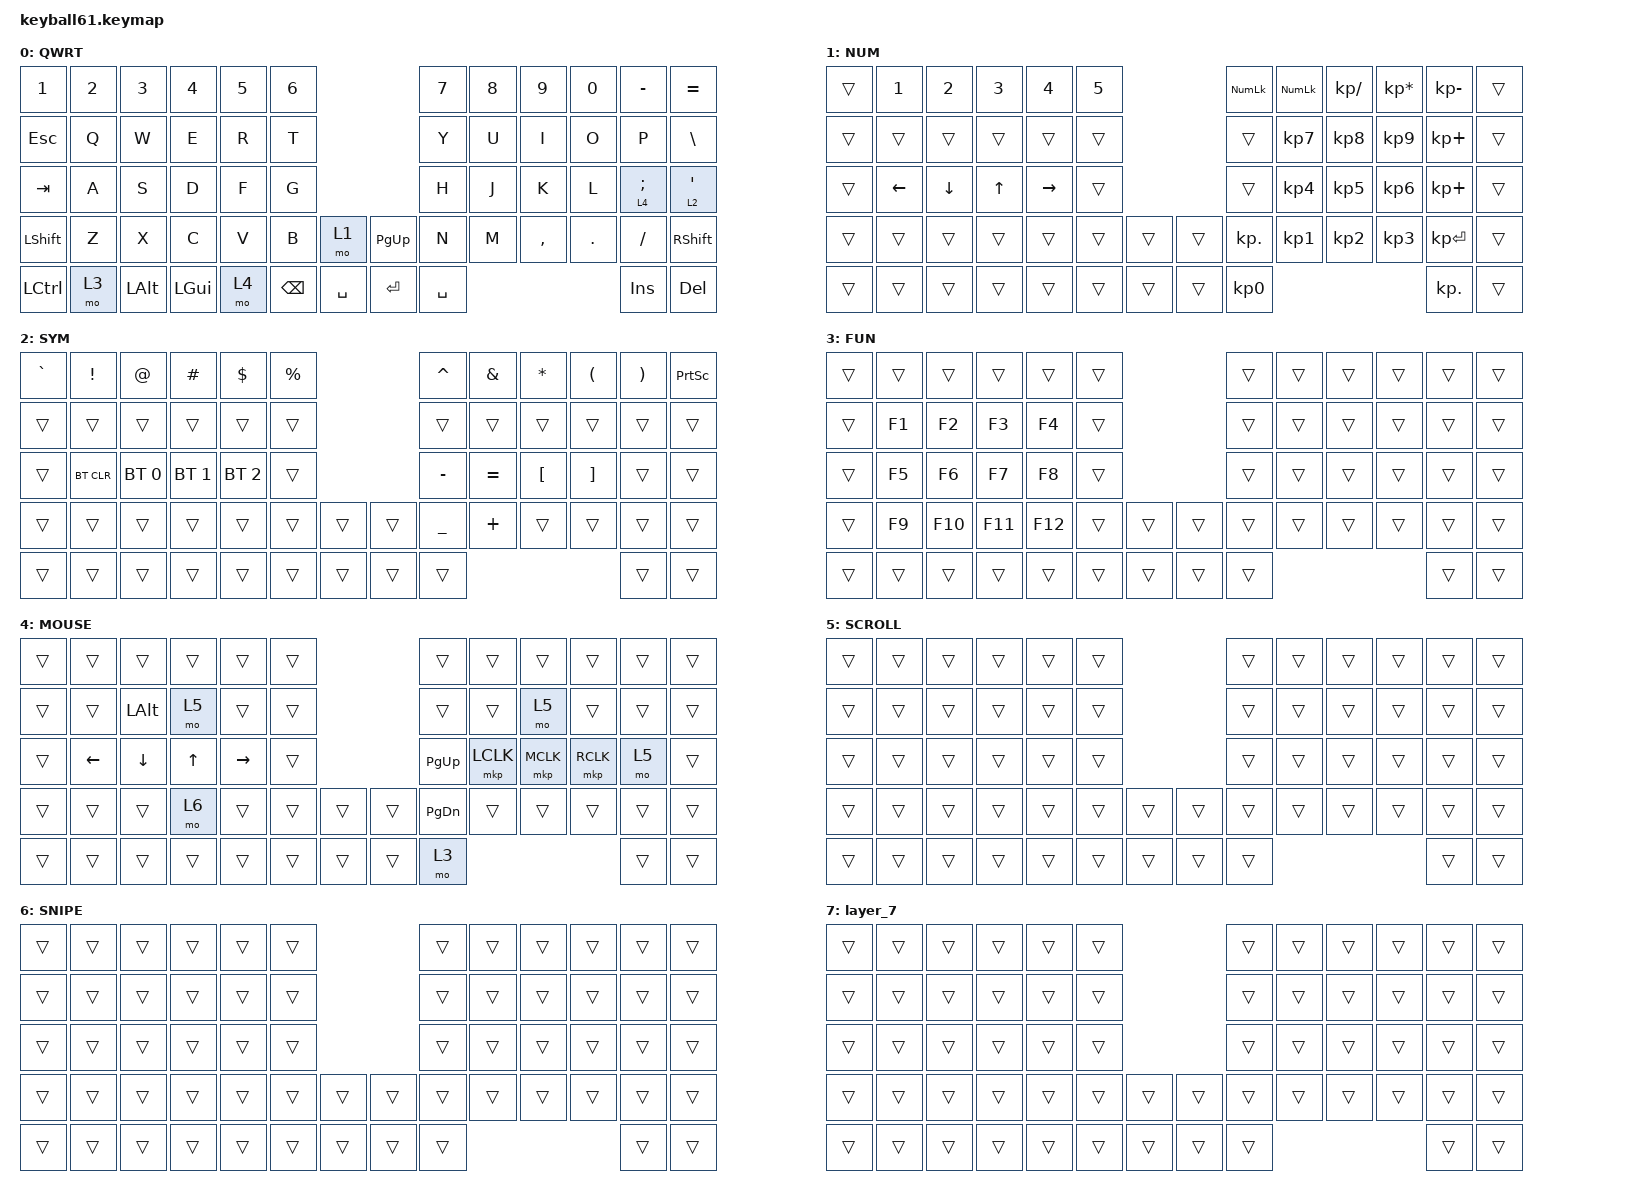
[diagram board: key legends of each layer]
#define DEFAULT 0
#define SYM     1
#define FUN     2
#define MOUSE   3
#define SCROLL  4
#define SNIPE   5

#include <behaviors/mouse_keys.dtsi>
#include <dt-bindings/zmk/mouse.h>
#include <behaviors.dtsi>
#include <dt-bindings/zmk/bt.h>
#include <dt-bindings/zmk/keys.h>
#include <dt-bindings/zmk/pointing.h>

&lt {
    tapping-term-ms = <240>;
    flavor = "balanced";
    quick-tap-ms = <150>;
};

&mt {
    tapping-term-ms = <200>;
    flavor = "tap-preferred";
    quick-tap-ms = <150>;
};

/ {
    keymap {
        compatible = "zmk,keymap";

        default_layer {
            label = "QWRT";
            bindings = <
&kp NUMBER_1    &kp NUMBER_2  &kp NUMBER_3  &kp NUMBER_4  &kp N5  &kp NUMBER_6                           &kp N7     &kp N8  &kp N9     &kp N0   &kp MINUS        &kp EQUAL
&kp ESCAPE      &kp Q         &kp W         &kp E         &kp R   &kp T                                  &kp Y      &kp U   &kp I      &kp O    &kp P            &kp BACKSLASH
&kp TAB         &kp A         &kp S         &kp D         &kp F   &kp G                                  &kp H      &kp J   &kp K      &kp L    &lt 4 SEMICOLON  &lt 2 SQT
&kp LEFT_SHIFT  &kp Z         &kp X         &kp C         &kp V   &kp B          &mo 1      &kp PAGE_UP  &kp N      &kp M   &kp COMMA  &kp DOT  &kp FSLH         &kp RIGHT_SHIFT
&kp LCTRL       &mo 3         &kp LEFT_ALT  &kp LEFT_GUI  &mo 4   &kp BACKSPACE  &kp SPACE  &kp ENTER    &kp SPACE                              &kp INS          &kp DELETE
            >;
        };

        number_layer {
            bindings = <
&trans  &kp N1    &kp N2    &kp N3  &kp N4     &kp N5                  &kp KP_NUMLOCK  &kp KP_NUM       &kp KP_SLASH  &kp KP_MULTIPLY  &kp KP_MINUS  &trans
&trans  &trans    &trans    &trans  &trans     &trans                  &trans          &kp KP_N7        &kp KP_N8     &kp KP_N9        &kp KP_PLUS   &trans
&trans  &kp LEFT  &kp DOWN  &kp UP  &kp RIGHT  &trans                  &trans          &kp KP_N4        &kp KP_N5     &kp KP_N6        &kp KP_PLUS   &trans
&trans  &trans    &trans    &trans  &trans     &trans  &trans  &trans  &kp KP_DOT      &kp KP_NUMBER_1  &kp KP_N2     &kp KP_N3        &kp KP_ENTER  &trans
&trans  &trans    &trans    &trans  &trans     &trans  &trans  &trans  &kp KP_N0                                                       &kp KP_DOT    &trans
            >;

            label = "NUM";
        };

        symbol_layer {
            label = "SYM";
            bindings = <
&kp GRAVE  &kp EXCLAMATION  &kp AT_SIGN   &kp HASH      &kp DOLLAR    &kp PERCENT                  &kp CARET       &kp AMPERSAND  &kp ASTERISK      &kp LEFT_PARENTHESIS  &kp RIGHT_PARENTHESIS  &kp PRINTSCREEN
&trans     &trans           &trans        &trans        &trans        &trans                       &trans          &trans         &trans            &trans                &trans                 &trans
&trans     &bt BT_CLR       &bt BT_SEL 0  &bt BT_SEL 1  &bt BT_SEL 2  &trans                       &kp MINUS       &kp EQUAL      &kp LEFT_BRACKET  &kp RIGHT_BRACKET     &trans                 &trans
&trans     &trans           &trans        &trans        &trans        &trans       &trans  &trans  &kp UNDERSCORE  &kp PLUS       &trans            &trans                &trans                 &trans
&trans     &trans           &trans        &trans        &trans        &trans       &trans  &trans  &trans                                                                 &trans                 &trans
            >;
        };

        function_layer {
            label = "FUN";
            bindings = <
&trans  &trans  &trans   &trans   &trans   &trans                  &trans  &trans  &trans  &trans  &trans  &trans
&trans  &kp F1  &kp F2   &kp F3   &kp F4   &trans                  &trans  &trans  &trans  &trans  &trans  &trans
&trans  &kp F5  &kp F6   &kp F7   &kp F8   &trans                  &trans  &trans  &trans  &trans  &trans  &trans
&trans  &kp F9  &kp F10  &kp F11  &kp F12  &trans  &trans  &trans  &trans  &trans  &trans  &trans  &trans  &trans
&trans  &trans  &trans   &trans   &trans   &trans  &trans  &trans  &trans                          &trans  &trans
            >;
        };

        mouse_layer {
            label = "MOUSE";
            bindings = <
&trans  &trans    &trans        &trans  &trans     &trans                  &trans         &trans     &trans     &trans     &trans  &trans
&trans  &trans    &kp LEFT_ALT  &mo 5   &trans     &trans                  &trans         &trans     &mo 5      &trans     &trans  &trans
&trans  &kp LEFT  &kp DOWN      &kp UP  &kp RIGHT  &trans                  &kp PAGE_UP    &mkp LCLK  &mkp MCLK  &mkp RCLK  &mo 5   &trans
&trans  &trans    &trans        &mo 6   &trans     &trans  &trans  &trans  &kp PAGE_DOWN  &trans     &trans     &trans     &trans  &trans
&trans  &trans    &trans        &trans  &trans     &trans  &trans  &trans  &mo 3                                           &trans  &trans
            >;
        };

        scroll_layer {
            label = "SCROLL";
            bindings = <
&trans  &trans  &trans  &trans  &trans  &trans                  &trans  &trans  &trans  &trans  &trans  &trans
&trans  &trans  &trans  &trans  &trans  &trans                  &trans  &trans  &trans  &trans  &trans  &trans
&trans  &trans  &trans  &trans  &trans  &trans                  &trans  &trans  &trans  &trans  &trans  &trans
&trans  &trans  &trans  &trans  &trans  &trans  &trans  &trans  &trans  &trans  &trans  &trans  &trans  &trans
&trans  &trans  &trans  &trans  &trans  &trans  &trans  &trans  &trans                          &trans  &trans
            >;
        };

        snipe_layer {
            label = "SNIPE";
            bindings = <
&trans  &trans  &trans  &trans  &trans  &trans                  &trans  &trans  &trans  &trans  &trans  &trans
&trans  &trans  &trans  &trans  &trans  &trans                  &trans  &trans  &trans  &trans  &trans  &trans
&trans  &trans  &trans  &trans  &trans  &trans                  &trans  &trans  &trans  &trans  &trans  &trans
&trans  &trans  &trans  &trans  &trans  &trans  &trans  &trans  &trans  &trans  &trans  &trans  &trans  &trans
&trans  &trans  &trans  &trans  &trans  &trans  &trans  &trans  &trans                          &trans  &trans
            >;
        };

        layer_7 {
            bindings = <
&trans  &trans  &trans  &trans  &trans  &trans                  &trans  &trans  &trans  &trans  &trans  &trans
&trans  &trans  &trans  &trans  &trans  &trans                  &trans  &trans  &trans  &trans  &trans  &trans
&trans  &trans  &trans  &trans  &trans  &trans                  &trans  &trans  &trans  &trans  &trans  &trans
&trans  &trans  &trans  &trans  &trans  &trans  &trans  &trans  &trans  &trans  &trans  &trans  &trans  &trans
&trans  &trans  &trans  &trans  &trans  &trans  &trans  &trans  &trans                          &trans  &trans
            >;
        };
    };
};
